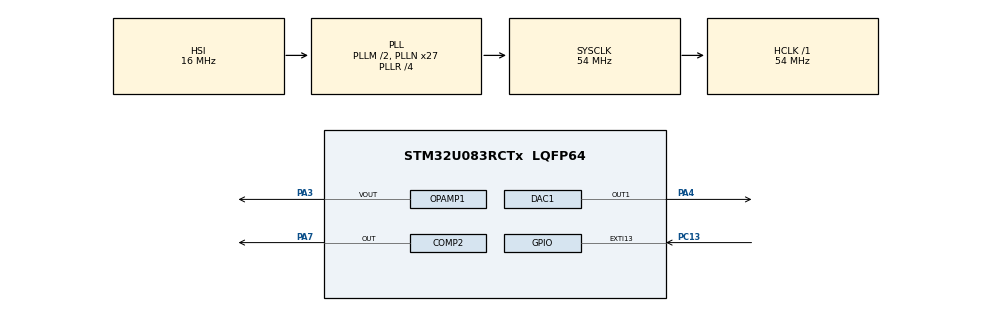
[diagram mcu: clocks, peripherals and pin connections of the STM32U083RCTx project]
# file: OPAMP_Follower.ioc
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Mcu.Family=STM32U0
Mcu.Name=STM32U083RCTx
Mcu.Package=LQFP64
NVIC.EXTI4_15_IRQn=true\:0\:0\:false\:false\:true\:true\:true\:true
NVIC.PriorityGroup=NVIC_PRIORITYGROUP_2
PA3.Signal=SharedAnalog_PA3
PA4.Signal=COMP_DAC11_group
PA7.Mode=ExternalOutput
PA7.Signal=COMP2_OUT
PC13.GPIO_PuPd=GPIO_PULLUP
PC13.Signal=GPXTI13
ProjectManager.HeapSize=0x200
ProjectManager.StackSize=0x400
ProjectManager.TargetToolchain=EWARM V9.20
RCC.ADCFreq_Value=54000000
RCC.AHBFreq_Value=54000000
RCC.CortexFreq_Value=54000000
RCC.HCLKFreq_Value=54000000
RCC.HSE_VALUE=4000000
RCC.HSI48_VALUE=48000000
RCC.HSI_VALUE=16000000
RCC.LSE_VALUE=32768
RCC.MSI_VALUE=4000000
RCC.PLLM=RCC_PLLM_DIV2
RCC.PLLN=27
RCC.PLLR=RCC_PLLR_DIV4
RCC.SYSCLKFreq_VALUE=54000000
RCC.SYSCLKSource=RCC_SYSCLKSOURCE_PLLCLK
RCC.VCOOutputFreq_Value=216000000
SH.COMP_DAC11_group.0=DAC1_OUT1,DAC_OUT1_ExtAndInt
SH.SharedAnalog_PA3.0=OPAMP1_VOUT,Follower-DAC_OUT1-INP
SH.SharedAnalog_PA3.1=COMP2_INP,INP
VP_COMP2_VS_VREFINT.Mode=VREFINT
VP_PWR_VS_SECSignals.Mode=Security/Privilege
board=custom

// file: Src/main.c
/* USER CODE BEGIN Header */
/**
  ******************************************************************************
  * @file           : main.c
  * @brief          : Main program body
  ******************************************************************************
  * @attention
  *
  * Copyright (c) 2023 STMicroelectronics.
  * All rights reserved.
  *
  * This software is licensed under terms that can be found in the LICENSE file
  * in the root directory of this software component.
  * If no LICENSE file comes with this software, it is provided AS-IS.
  *
  ******************************************************************************
  */
/* USER CODE END Header */
#include "main.h"

COMP_HandleTypeDef hcomp2;

DAC_HandleTypeDef hdac1;

OPAMP_HandleTypeDef hopamp1;

void SystemClock_Config(void);
static void MX_GPIO_Init(void);
static void MX_COMP2_Init(void);
static void MX_DAC1_Init(void);
static void MX_OPAMP1_Init(void);
/* USER CODE BEGIN PFP */
void OPAMP_Config_Power(void);
__IO uint32_t UserButtonStatus = 0;
/* USER CODE END PFP */

int main(void)
{
  /* USER CODE BEGIN 1 */
  /* STM32U0xx HAL library initialization:
       - Configure the Flash prefetch
       - Systick timer is configured by default as source of time base, but user
         can eventually implement his proper time base source (a general purpose
         timer for example or other time source), keeping in mind that Time base
         duration should be kept 1ms since PPP_TIMEOUT_VALUEs are defined and
         handled in milliseconds basis.
       - Low Level Initialization
     */
  /* USER CODE END 1 */

  /* MCU Configuration--------------------------------------------------------*/

  /* Reset of all peripherals, Initializes the Flash interface and the Systick. */
  HAL_Init();

  /* USER CODE BEGIN Init */
  uint32_t examplestate = 0;
  /* USER CODE END Init */

  /* Configure the system clock */
  SystemClock_Config();

  /* Initialize all configured peripherals */
  MX_GPIO_Init();
  MX_COMP2_Init();
  MX_DAC1_Init();
  MX_OPAMP1_Init();
  /* USER CODE BEGIN 2 */
  /* Initialize LEDs on board */
  BSP_PB_Init(BUTTON_USER, BUTTON_MODE_GPIO);
  BSP_LED_Init(LED4);

  /* OPAMP start */
  if (HAL_OPAMP_Start(&hopamp1) != HAL_OK)
  {
    Error_Handler();
  }
  /* COMP start */
  if (HAL_COMP_Start(&hcomp2) != HAL_OK)
  {
    Error_Handler();
  }
  /* USER CODE END 2 */

  /* Infinite loop */
  /* USER CODE BEGIN WHILE */
  while (1)
  {
    /* Test if an action occurred on the User button */
    if (UserButtonStatus == 1)
    {
      UserButtonStatus = 0;
      /* Change the mode */
      if (examplestate == 0)
      {
        /* Turn LED4 on */
        BSP_LED_On(LED4);
        /* normal mode */
        MX_OPAMP1_Init();
        examplestate= 1;
      }
      else
      {
        /* Turn LED4 off */
        BSP_LED_Off(LED4);
        /* Low power mode */
        OPAMP_Config_Power();
        examplestate= 0;
      }
    }
    /* USER CODE END WHILE */

  }
}

void SystemClock_Config(void)
{
  RCC_OscInitTypeDef RCC_OscInitStruct = {0};
  RCC_ClkInitTypeDef RCC_ClkInitStruct = {0};

  /** Configure the main internal regulator output voltage
  */
  HAL_PWREx_ControlVoltageScaling(PWR_REGULATOR_VOLTAGE_SCALE1);

  /** Initializes the RCC Oscillators according to the specified parameters
  * in the RCC_OscInitTypeDef structure.
  */
  RCC_OscInitStruct.OscillatorType = RCC_OSCILLATORTYPE_HSI;
  RCC_OscInitStruct.HSIState = RCC_HSI_ON;
  RCC_OscInitStruct.HSICalibrationValue = RCC_HSICALIBRATION_DEFAULT;
  RCC_OscInitStruct.PLL.PLLState = RCC_PLL_ON;
  RCC_OscInitStruct.PLL.PLLSource = RCC_PLLSOURCE_HSI;
  RCC_OscInitStruct.PLL.PLLM = RCC_PLLM_DIV2;
  RCC_OscInitStruct.PLL.PLLN = 27;
  RCC_OscInitStruct.PLL.PLLP = RCC_PLLP_DIV2;
  RCC_OscInitStruct.PLL.PLLQ = RCC_PLLQ_DIV2;
  RCC_OscInitStruct.PLL.PLLR = RCC_PLLR_DIV4;
  if (HAL_RCC_OscConfig(&RCC_OscInitStruct) != HAL_OK)
  {
    Error_Handler();
  }

  /** Initializes the CPU, AHB and APB buses clocks
  */
  RCC_ClkInitStruct.ClockType = RCC_CLOCKTYPE_HCLK|RCC_CLOCKTYPE_SYSCLK
                              |RCC_CLOCKTYPE_PCLK1;
  RCC_ClkInitStruct.SYSCLKSource = RCC_SYSCLKSOURCE_PLLCLK;
  RCC_ClkInitStruct.AHBCLKDivider = RCC_SYSCLK_DIV1;
  RCC_ClkInitStruct.APB1CLKDivider = RCC_HCLK_DIV1;

  if (HAL_RCC_ClockConfig(&RCC_ClkInitStruct, FLASH_LATENCY_2) != HAL_OK)
  {
    Error_Handler();
  }
}

static void MX_COMP2_Init(void)
{

  hcomp2.Instance = COMP2;
  hcomp2.Init.InputPlus = COMP_INPUT_PLUS_IO3;
  hcomp2.Init.InputMinus = COMP_INPUT_MINUS_VREFINT;
  hcomp2.Init.OutputPol = COMP_OUTPUTPOL_NONINVERTED;
  hcomp2.Init.WindowOutput = COMP_WINDOWOUTPUT_EACH_COMP;
  hcomp2.Init.Hysteresis = COMP_HYSTERESIS_NONE;
  hcomp2.Init.BlankingSrce = COMP_BLANKINGSRC_NONE;
  hcomp2.Init.Mode = COMP_POWERMODE_HIGHSPEED;
  hcomp2.Init.WindowMode = COMP_WINDOWMODE_DISABLE;
  hcomp2.Init.TriggerMode = COMP_TRIGGERMODE_NONE;
  if (HAL_COMP_Init(&hcomp2) != HAL_OK)
  {
    Error_Handler();
  }

}

static void MX_DAC1_Init(void)
{

  DAC_ChannelConfTypeDef sConfig = {0};

  /** DAC Initialization
  */
  hdac1.Instance = DAC1;
  if (HAL_DAC_Init(&hdac1) != HAL_OK)
  {
    Error_Handler();
  }

  /** DAC channel OUT1 config
  */
  sConfig.DAC_SampleAndHold = DAC_SAMPLEANDHOLD_DISABLE;
  sConfig.DAC_Trigger = DAC_TRIGGER_NONE;
  sConfig.DAC_OutputBuffer = DAC_OUTPUTBUFFER_ENABLE;
  sConfig.DAC_ConnectOnChipPeripheral = DAC_CHIPCONNECT_BOTH;
  sConfig.DAC_UserTrimming = DAC_TRIMMING_FACTORY;
  if (HAL_DAC_ConfigChannel(&hdac1, &sConfig, DAC_CHANNEL_1) != HAL_OK)
  {
    Error_Handler();
  }
  /* USER CODE BEGIN DAC1_Init 2 */
  /* Set DAC output voltage */
  HAL_DAC_SetValue(&hdac1, DAC_CHANNEL_1, DAC_ALIGN_8B_R,0x7F);

  /* Enable DAC Channel 1 */
  if(HAL_DAC_Start(&hdac1, DAC_CHANNEL_1) != HAL_OK)
  {
    Error_Handler();
  }
  /* USER CODE END DAC1_Init 2 */

}

static void MX_OPAMP1_Init(void)
{

  hopamp1.Instance = OPAMP1;
  hopamp1.Init.PowerSupplyRange = OPAMP_POWERSUPPLY_LOW;
  hopamp1.Init.Mode = OPAMP_FOLLOWER_MODE;
  hopamp1.Init.NonInvertingInput = OPAMP_NONINVERTINGINPUT_DAC_CH;
  hopamp1.Init.PowerMode = OPAMP_POWERMODE_NORMALPOWER_NORMALSPEED;
  hopamp1.Init.UserTrimming = OPAMP_TRIMMING_FACTORY;
  if (HAL_OPAMP_Init(&hopamp1) != HAL_OK)
  {
    Error_Handler();
  }

}

static void MX_GPIO_Init(void)
{
  GPIO_InitTypeDef GPIO_InitStruct = {0};

  /* GPIO Ports Clock Enable */
  __HAL_RCC_GPIOC_CLK_ENABLE();
  __HAL_RCC_GPIOA_CLK_ENABLE();

  /*Configure GPIO pin : PC13 */
  GPIO_InitStruct.Pin = GPIO_PIN_13;
  GPIO_InitStruct.Mode = GPIO_MODE_IT_RISING;
  GPIO_InitStruct.Pull = GPIO_PULLUP;
  HAL_GPIO_Init(GPIOC, &GPIO_InitStruct);

  /* EXTI interrupt init*/
  HAL_NVIC_SetPriority(EXTI4_15_IRQn, 0, 0);
  HAL_NVIC_EnableIRQ(EXTI4_15_IRQn);

}

/* USER CODE BEGIN 4 */
/**
  * @brief  OPAMP Configuration
  * @param  None
  * @retval None
  */
void OPAMP_Config_Power(void)
{
  /* Set OPAMP instance */
  hopamp1.Instance = OPAMP1;

  /* Deinit  OPAMP */
  HAL_OPAMP_DeInit(&hopamp1);

  /* Configure OPAMP */

  /* Select power mode */
  hopamp1.Init.PowerMode = OPAMP_POWERMODE_LOWPOWER_NORMALSPEED;

  /* Select FOLLOWER Mode */
  hopamp1.Init.Mode = OPAMP_FOLLOWER_MODE;

  /* Select VPx as input for OPAMP */
  hopamp1.Init.NonInvertingInput = OPAMP_NONINVERTINGINPUT_DAC_CH;

  /* Select the factory trimming */
  hopamp1.Init.UserTrimming = OPAMP_TRIMMING_FACTORY;

  /* Init */
  if(HAL_OK != HAL_OPAMP_Init(&hopamp1))
  {
    Error_Handler();
  }

  /* Start OPAMP */
  if(HAL_OK != HAL_OPAMP_Start(&hopamp1))
  {
    Error_Handler();
  }
}
 void HAL_GPIO_EXTI_Rising_Callback(uint16_t GPIO_Pin)
{
  /* Prevent unused argument(s) compilation warning */
  UserButtonStatus = 1;

  /* NOTE: This function should not be modified, when the callback is needed,
           the HAL_GPIO_EXTI_Rising_Callback could be implemented in the user file
   */
}
/* USER CODE END 4 */

void Error_Handler(void)
{
  /* USER CODE BEGIN Error_Handler_Debug */
  while (1)
  {
    /* Toggle LED4 */
    BSP_LED_Toggle(LED4);
    HAL_Delay(1000);
  }
  /* USER CODE END Error_Handler_Debug */
}
